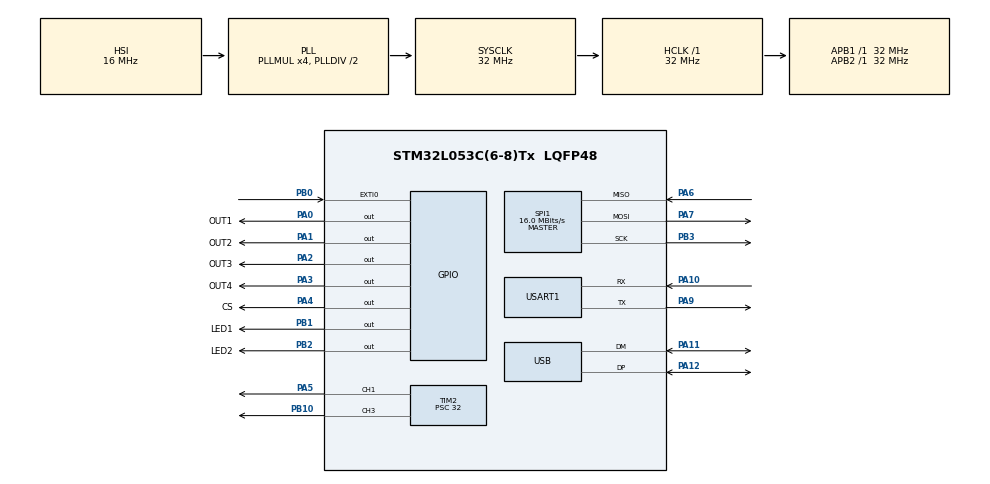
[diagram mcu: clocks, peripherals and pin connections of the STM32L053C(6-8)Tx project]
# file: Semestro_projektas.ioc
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Mcu.Family=STM32L0
Mcu.Name=STM32L053C(6-8)Tx
Mcu.Package=LQFP48
NVIC.USB_IRQn=true\:0\:0\:false\:false\:true\:false\:true
PA0.GPIO_Label=OUT1
PA0.Signal=GPIO_Output
PA1.GPIO_Label=OUT2
PA1.Signal=GPIO_Output
PA10.Mode=Asynchronous
PA10.Signal=USART1_RX
PA11.Mode=Device
PA11.Signal=USB_DM
PA12.Mode=Device
PA12.Signal=USB_DP
PA13.Mode=Serial_Wire
PA13.Signal=SYS_SWDIO
PA14.Mode=Serial_Wire
PA14.Signal=SYS_SWCLK
PA2.GPIO_Label=OUT3
PA2.Signal=GPIO_Output
PA3.GPIO_Label=OUT4
PA3.Signal=GPIO_Output
PA4.GPIO_Label=CS
PA4.Signal=GPIO_Output
PA5.Signal=S_TIM2_CH1
PA6.Mode=Full_Duplex_Master
PA6.Signal=SPI1_MISO
PA7.Mode=Full_Duplex_Master
PA7.Signal=SPI1_MOSI
PA9.Mode=Asynchronous
PA9.Signal=USART1_TX
PB0.Signal=GPXTI0
PB1.GPIO_Label=LED1
PB1.Signal=GPIO_Output
PB10.Signal=S_TIM2_CH3
PB2.GPIO_Label=LED2
PB2.Signal=GPIO_Output
PB3.Mode=Full_Duplex_Master
PB3.Signal=SPI1_SCK
ProjectManager.HeapSize=0x200
ProjectManager.StackSize=0x400
ProjectManager.TargetToolchain=STM32CubeIDE
RCC.AHBFreq_Value=32000000
RCC.APB1Freq_Value=32000000
RCC.APB1TimFreq_Value=32000000
RCC.APB2Freq_Value=32000000
RCC.APB2TimFreq_Value=32000000
RCC.HCLKFreq_Value=32000000
RCC.HSE_VALUE=8000000
RCC.HSI16_VALUE=16000000
RCC.HSI48MClockSelection=RCC_USBCLKSOURCE_HSI48
RCC.HSI48_VALUE=48000000
RCC.HSI_VALUE=16000000
RCC.LSE_VALUE=32768
RCC.MSI_VALUE=2097000
RCC.PLLMUL=RCC_PLLMUL_4
RCC.SYSCLKFreq_VALUE=32000000
RCC.SYSCLKSource=RCC_SYSCLKSOURCE_PLLCLK
RCC.VCOOutputFreq_Value=64000000
SH.S_TIM2_CH1.0=TIM2_CH1,PWM Generation1 CH1
SH.S_TIM2_CH3.0=TIM2_CH3,PWM Generation3 CH3
SPI1.CalculateBaudRate=16.0 MBits/s
SPI1.Direction=SPI_DIRECTION_2LINES
SPI1.Mode=SPI_MODE_MASTER
SPI1.VirtualType=VM_MASTER
TIM2.Channel-PWM\ Generation1\ CH1=TIM_CHANNEL_1
TIM2.Channel-PWM\ Generation3\ CH3=TIM_CHANNEL_3
TIM2.Period=100
TIM2.Prescaler=32
TIM2.Pulse-PWM\ Generation1\ CH1=0
USART1.VirtualMode-Asynchronous=VM_ASYNC
USB_DEVICE.CLASS_NAME_FS=CDC
USB_DEVICE.VirtualMode=Cdc
USB_DEVICE.VirtualModeFS=Cdc_FS
VP_TIM2_VS_ClockSourceINT.Mode=Internal
VP_USB_DEVICE_VS_USB_DEVICE_CDC_FS.Mode=CDC_FS
board=custom

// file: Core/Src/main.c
/* USER CODE BEGIN Header */
/**
 ******************************************************************************
 * @file           : main.c
 * @brief          : Main program body
 ******************************************************************************
 * @attention
 *
 * <h2><center>&copy; Copyright (c) 2020 STMicroelectronics.
 * All rights reserved.</center></h2>
 *
 * This software component is licensed by ST under BSD 3-Clause license,
 * the "License"; You may not use this file except in compliance with the
 * License. You may obtain a copy of the License at:
 *                        opensource.org/licenses/BSD-3-Clause
 *
 ******************************************************************************
 */
/* USER CODE END Header */
#include "main.h"
#include "usb_device.h"

/* USER CODE BEGIN Includes */
#include "usbd_cdc_if.h"
/* USER CODE END Includes */

/* USER CODE BEGIN PD */
#define in1_in3(a) HAL_GPIO_WritePin(GPIOA, GPIO_PIN_0 | GPIO_PIN_2, a)
#define in2_in4(b) HAL_GPIO_WritePin(GPIOA, GPIO_PIN_1 | GPIO_PIN_3, b)
#define in1_in4(c) HAL_GPIO_WritePin(GPIOA, GPIO_PIN_0 | GPIO_PIN_3, c)
#define in2_in3(d) HAL_GPIO_WritePin(GPIO4, GPIO_PIN_1 | GPIO_PIN_2, d)
/* USER CODE END PD */

SPI_HandleTypeDef hspi1;

TIM_HandleTypeDef htim2;

UART_HandleTypeDef huart1;

/* USER CODE BEGIN PV */
uint8_t receivedData[4] = {100, 10, 0, 10};
uint32_t len = 4;
uint8_t Receiveflag;
/* USER CODE END PV */

void SystemClock_Config(void);
static void MX_GPIO_Init(void);
static void MX_TIM2_Init(void);
static void MX_SPI1_Init(void);
static void MX_USART1_UART_Init(void);
/* USER CODE BEGIN PFP */

//void CDC_ReceiveCallBack(uint8_t *buf, uint32_t len) {
	//Receiveflag = 1;
	//memcpy(receivedData, buf, 4);
//}

void Motors_Control(uint8_t DutyCycleA, uint8_t DutyCycleB) {
	htim2.Instance->CCR1 = DutyCycleA;  // Motor A speed control
	htim2.Instance->CCR3 = DutyCycleB;  // Motor B speed control

	// moving forward
	if (DutyCycleA > 0 && DutyCycleB > 0) {
		in1_in3(GPIO_PIN_RESET); // in1 and in3
		in2_in4(GPIO_PIN_SET);   //in2 and in4
	}

	// moving backward
	if (DutyCycleA < 0 && DutyCycleB < 0) {
		in1_in3(GPIO_PIN_SET); // in1 and in3
		in2_in4(GPIO_PIN_RESET);   //in2 and in4
	}

	// stop
	if (DutyCycleA == 0 && DutyCycleB == 0) {
		in1_in3(GPIO_PIN_RESET); // in1 and in3
		in2_in4(GPIO_PIN_RESET);   //in2 and in4
	}

	// moving to left
	if(DutyCycleA < 0 && DutyCycleB > 0) {
		in1_in4(GPIO_PIN_SET);   // in1 and in4
		in2_in3(GPIO_PIN_RESET); // in2 and in3
	}

	// moving to right
	if (DutyCycleA > 0 && DutyCycleB < 0) {
		in1_in4(GPIO_PIN_RESET);   // in1 and in4
		in2_in3(GPIO_PIN_SET); // in2 and in3
	}
}
/* USER CODE END PFP */

int main(void)
{

  /* MCU Configuration--------------------------------------------------------*/

  /* Reset of all peripherals, Initializes the Flash interface and the Systick. */
  HAL_Init();

  /* Configure the system clock */
  SystemClock_Config();

  /* Initialize all configured peripherals */
  MX_GPIO_Init();
  MX_TIM2_Init();
  MX_USB_DEVICE_Init();
  MX_SPI1_Init();
  MX_USART1_UART_Init();
  /* USER CODE BEGIN 2 */

	HAL_TIM_PWM_Start(&htim2, TIM_CHANNEL_1);
	HAL_TIM_PWM_Start(&htim22, TIM_CHANNEL_1);
  /* USER CODE END 2 */

  /* Infinite loop */
	while (1) {

    /* USER CODE BEGIN 3 */
		//if(Receiveflag == 1)
		//{
			//Receiveflag = 0;
			//Motors_Control(receivedData[0], receivedData[2]);
		//}
	Motors_Control(receivedData[0], receivedData[2]);
	}

  /* USER CODE END 3 */
}

void SystemClock_Config(void)
{
  RCC_OscInitTypeDef RCC_OscInitStruct = {0};
  RCC_ClkInitTypeDef RCC_ClkInitStruct = {0};
  RCC_PeriphCLKInitTypeDef PeriphClkInit = {0};

  /** Configure the main internal regulator output voltage
  */
  __HAL_PWR_VOLTAGESCALING_CONFIG(PWR_REGULATOR_VOLTAGE_SCALE1);
  /** Initializes the RCC Oscillators according to the specified parameters
  * in the RCC_OscInitTypeDef structure.
  */
  RCC_OscInitStruct.OscillatorType = RCC_OSCILLATORTYPE_HSI|RCC_OSCILLATORTYPE_HSI48;
  RCC_OscInitStruct.HSIState = RCC_HSI_ON;
  RCC_OscInitStruct.HSICalibrationValue = RCC_HSICALIBRATION_DEFAULT;
  RCC_OscInitStruct.HSI48State = RCC_HSI48_ON;
  RCC_OscInitStruct.PLL.PLLState = RCC_PLL_ON;
  RCC_OscInitStruct.PLL.PLLSource = RCC_PLLSOURCE_HSI;
  RCC_OscInitStruct.PLL.PLLMUL = RCC_PLLMUL_4;
  RCC_OscInitStruct.PLL.PLLDIV = RCC_PLLDIV_2;
  if (HAL_RCC_OscConfig(&RCC_OscInitStruct) != HAL_OK)
  {
    Error_Handler();
  }
  /** Initializes the CPU, AHB and APB buses clocks
  */
  RCC_ClkInitStruct.ClockType = RCC_CLOCKTYPE_HCLK|RCC_CLOCKTYPE_SYSCLK
                              |RCC_CLOCKTYPE_PCLK1|RCC_CLOCKTYPE_PCLK2;
  RCC_ClkInitStruct.SYSCLKSource = RCC_SYSCLKSOURCE_PLLCLK;
  RCC_ClkInitStruct.AHBCLKDivider = RCC_SYSCLK_DIV1;
  RCC_ClkInitStruct.APB1CLKDivider = RCC_HCLK_DIV1;
  RCC_ClkInitStruct.APB2CLKDivider = RCC_HCLK_DIV1;

  if (HAL_RCC_ClockConfig(&RCC_ClkInitStruct, FLASH_LATENCY_1) != HAL_OK)
  {
    Error_Handler();
  }
  PeriphClkInit.PeriphClockSelection = RCC_PERIPHCLK_USART1|RCC_PERIPHCLK_USB;
  PeriphClkInit.Usart1ClockSelection = RCC_USART1CLKSOURCE_PCLK2;
  PeriphClkInit.UsbClockSelection = RCC_USBCLKSOURCE_HSI48;
  if (HAL_RCCEx_PeriphCLKConfig(&PeriphClkInit) != HAL_OK)
  {
    Error_Handler();
  }
}

static void MX_SPI1_Init(void)
{

  /* SPI1 parameter configuration*/
  hspi1.Instance = SPI1;
  hspi1.Init.Mode = SPI_MODE_MASTER;
  hspi1.Init.Direction = SPI_DIRECTION_2LINES;
  hspi1.Init.DataSize = SPI_DATASIZE_8BIT;
  hspi1.Init.CLKPolarity = SPI_POLARITY_LOW;
  hspi1.Init.CLKPhase = SPI_PHASE_1EDGE;
  hspi1.Init.NSS = SPI_NSS_SOFT;
  hspi1.Init.BaudRatePrescaler = SPI_BAUDRATEPRESCALER_2;
  hspi1.Init.FirstBit = SPI_FIRSTBIT_MSB;
  hspi1.Init.TIMode = SPI_TIMODE_DISABLE;
  hspi1.Init.CRCCalculation = SPI_CRCCALCULATION_DISABLE;
  hspi1.Init.CRCPolynomial = 7;
  if (HAL_SPI_Init(&hspi1) != HAL_OK)
  {
    Error_Handler();
  }

}

static void MX_TIM2_Init(void)
{

  TIM_ClockConfigTypeDef sClockSourceConfig = {0};
  TIM_MasterConfigTypeDef sMasterConfig = {0};
  TIM_OC_InitTypeDef sConfigOC = {0};

  htim2.Instance = TIM2;
  htim2.Init.Prescaler = 32;
  htim2.Init.CounterMode = TIM_COUNTERMODE_UP;
  htim2.Init.Period = 100;
  htim2.Init.ClockDivision = TIM_CLOCKDIVISION_DIV1;
  htim2.Init.AutoReloadPreload = TIM_AUTORELOAD_PRELOAD_DISABLE;
  if (HAL_TIM_Base_Init(&htim2) != HAL_OK)
  {
    Error_Handler();
  }
  sClockSourceConfig.ClockSource = TIM_CLOCKSOURCE_INTERNAL;
  if (HAL_TIM_ConfigClockSource(&htim2, &sClockSourceConfig) != HAL_OK)
  {
    Error_Handler();
  }
  if (HAL_TIM_PWM_Init(&htim2) != HAL_OK)
  {
    Error_Handler();
  }
  sMasterConfig.MasterOutputTrigger = TIM_TRGO_RESET;
  sMasterConfig.MasterSlaveMode = TIM_MASTERSLAVEMODE_DISABLE;
  if (HAL_TIMEx_MasterConfigSynchronization(&htim2, &sMasterConfig) != HAL_OK)
  {
    Error_Handler();
  }
  sConfigOC.OCMode = TIM_OCMODE_PWM1;
  sConfigOC.Pulse = 0;
  sConfigOC.OCPolarity = TIM_OCPOLARITY_HIGH;
  sConfigOC.OCFastMode = TIM_OCFAST_DISABLE;
  if (HAL_TIM_PWM_ConfigChannel(&htim2, &sConfigOC, TIM_CHANNEL_1) != HAL_OK)
  {
    Error_Handler();
  }
  if (HAL_TIM_PWM_ConfigChannel(&htim2, &sConfigOC, TIM_CHANNEL_3) != HAL_OK)
  {
    Error_Handler();
  }
  HAL_TIM_MspPostInit(&htim2);

}

static void MX_USART1_UART_Init(void)
{

  huart1.Instance = USART1;
  huart1.Init.BaudRate = 115200;
  huart1.Init.WordLength = UART_WORDLENGTH_8B;
  huart1.Init.StopBits = UART_STOPBITS_1;
  huart1.Init.Parity = UART_PARITY_NONE;
  huart1.Init.Mode = UART_MODE_TX_RX;
  huart1.Init.HwFlowCtl = UART_HWCONTROL_NONE;
  huart1.Init.OverSampling = UART_OVERSAMPLING_16;
  huart1.Init.OneBitSampling = UART_ONE_BIT_SAMPLE_DISABLE;
  huart1.AdvancedInit.AdvFeatureInit = UART_ADVFEATURE_NO_INIT;
  if (HAL_UART_Init(&huart1) != HAL_OK)
  {
    Error_Handler();
  }

}

static void MX_GPIO_Init(void)
{
  GPIO_InitTypeDef GPIO_InitStruct = {0};

  /* GPIO Ports Clock Enable */
  __HAL_RCC_GPIOA_CLK_ENABLE();
  __HAL_RCC_GPIOB_CLK_ENABLE();

  /*Configure GPIO pin Output Level */
  HAL_GPIO_WritePin(GPIOA, OUT1_Pin|OUT2_Pin|OUT3_Pin|OUT4_Pin
                          |CS_Pin, GPIO_PIN_RESET);

  /*Configure GPIO pin Output Level */
  HAL_GPIO_WritePin(GPIOB, LED1_Pin|LED2_Pin, GPIO_PIN_RESET);

  /*Configure GPIO pins : OUT1_Pin OUT2_Pin OUT3_Pin OUT4_Pin
                           CS_Pin */
  GPIO_InitStruct.Pin = OUT1_Pin|OUT2_Pin|OUT3_Pin|OUT4_Pin
                          |CS_Pin;
  GPIO_InitStruct.Mode = GPIO_MODE_OUTPUT_PP;
  GPIO_InitStruct.Pull = GPIO_NOPULL;
  GPIO_InitStruct.Speed = GPIO_SPEED_FREQ_LOW;
  HAL_GPIO_Init(GPIOA, &GPIO_InitStruct);

  /*Configure GPIO pin : PB0 */
  GPIO_InitStruct.Pin = GPIO_PIN_0;
  GPIO_InitStruct.Mode = GPIO_MODE_IT_RISING;
  GPIO_InitStruct.Pull = GPIO_NOPULL;
  HAL_GPIO_Init(GPIOB, &GPIO_InitStruct);

  /*Configure GPIO pins : LED1_Pin LED2_Pin */
  GPIO_InitStruct.Pin = LED1_Pin|LED2_Pin;
  GPIO_InitStruct.Mode = GPIO_MODE_OUTPUT_PP;
  GPIO_InitStruct.Pull = GPIO_NOPULL;
  GPIO_InitStruct.Speed = GPIO_SPEED_FREQ_LOW;
  HAL_GPIO_Init(GPIOB, &GPIO_InitStruct);

}

void Error_Handler(void)
{
}

/************************ (C) COPYRIGHT STMicroelectronics *****END OF FILE****/
